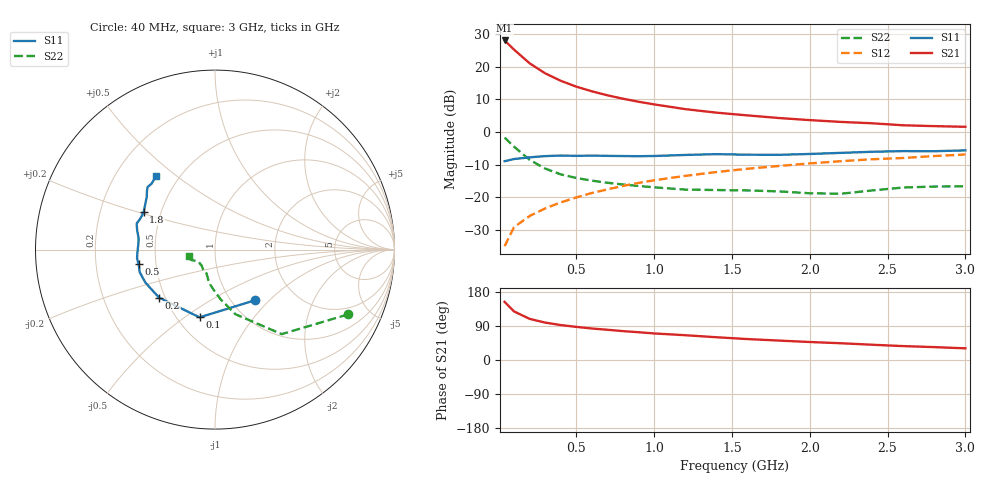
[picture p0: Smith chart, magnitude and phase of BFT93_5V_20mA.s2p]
! Filename:  BFT93C.S2P  Version:  2.0
! Philips part #: BFT93  Date: May 1990
! Bias condition: Vce=-5V, Ic=-20mA
#  MHz  S  MA  R  50
! Freq  S11  S21  S12  S22  !GUM [dB]
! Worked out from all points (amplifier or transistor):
!   21 points, 40 MHz to 3 GHz, reference 50 ohm
!   highest |S21| = 28.0 dB at 40 MHz (marker M1)
!   |S21| within 3 dB of that: start of sweep to 105.4 MHz
!   unconditionally stable (mu >= 1): 555 MHz to 2.248 GHz
!   at 300 MHz: K = 0.88, MSG = 20.7 dB, |S12| = -23.3 dB
!   at 1 GHz: K = 1.05, MAG = 10.3 dB, |S12| = -14.8 dB
!   at 3 GHz: K = 0.95, MSG = 4.2 dB, |S12| = -6.8 dB
!   S11 on the Smith chart (normalised r, x): 40 MHz: 1.27, -0.82; 100 MHz: 0.64, -0.57; 200 MHz: 0.46, -0.30; 500 MHz: 0.40, -0.08; 1.8 GHz: 0.40, +0.21; 3 GHz: 0.38, +0.43
40  0.359 -52.0  25.21 153.5  0.018 74.2  0.824 -26.0
100  0.387 -102.8  18.32 128.3  0.035 63.9  0.6 -51.7
200  0.411 -139.4  11.31 108.6  0.052 61.9  0.378 -72.4
300  0.429 -154.6  7.936 98.7  0.068 63.9  0.277 -83.8
400  0.438 -163.3  6.101 92.3  0.084 65.3  0.226 -91.6
500  0.433 -169.1  4.962 87.4  0.1 66.5  0.199 -97.2
600  0.437 -173.6  4.208 83.1  0.117 66.8  0.181 -100.8
700  0.433 -177.4  3.654 79.8  0.133 67.2  0.168 -103.6
800  0.43 179.4  3.243 76.2  0.15 67.1  0.158 -105.3
900  0.428 174.8  2.912 73.3  0.167 66.6  0.15 -107.1
1000  0.431 171.3  2.653 70.1  0.183 66.0  0.143 -108.9
1200  0.447 166.0  2.246 65.4  0.214 64.8  0.132 -114.1
1400  0.46 161.6  1.984 60.1  0.245 63.2  0.13 -119.4
1600  0.451 157.7  1.8 55.2  0.275 61.1  0.128 -121.3
1800  0.449 152.5  1.643 51.3  0.303 59.5  0.124 -124.1
2000  0.463 147.1  1.525 47.5  0.332 57.9  0.116 -130.3
2200  0.481 142.2  1.431 44.2  0.359 56.5  0.114 -141.8
2400  0.5 139.3  1.364 40.3  0.384 54.5  0.128 -151.0
2600  0.512 137.2  1.271 36.7  0.402 52.5  0.142 -155.5
2800  0.51 133.8  1.234 34.0  0.43 50.7  0.147 -157.9
3000  0.525 128.4  1.205 30.8  0.455 49.0  0.148 -165.1
